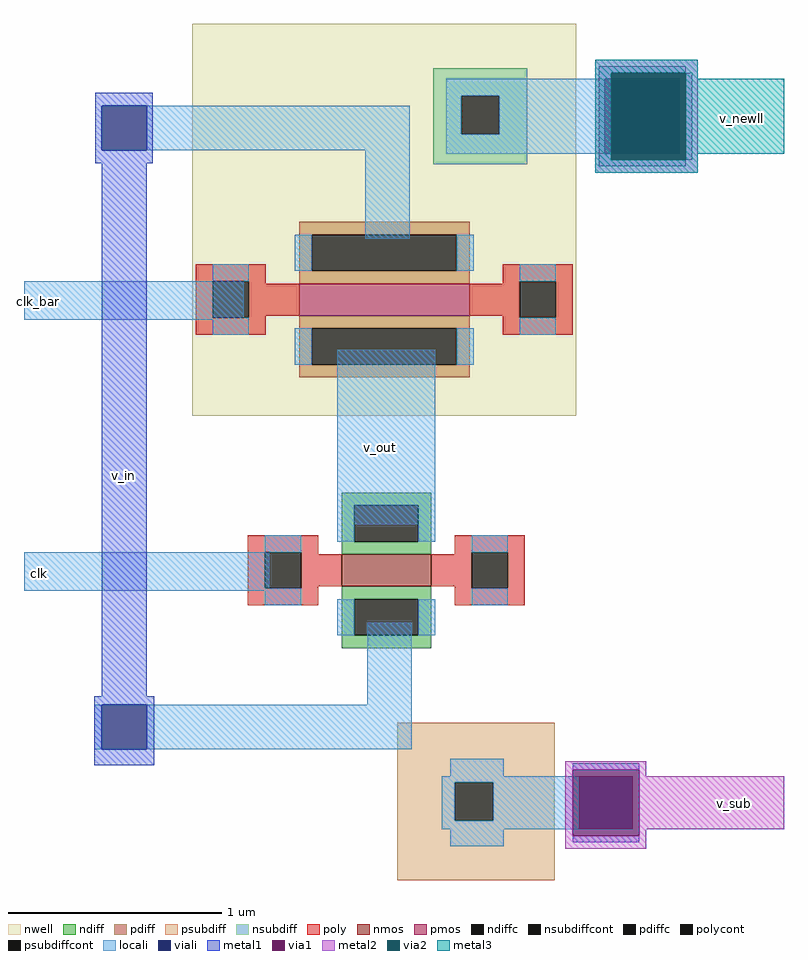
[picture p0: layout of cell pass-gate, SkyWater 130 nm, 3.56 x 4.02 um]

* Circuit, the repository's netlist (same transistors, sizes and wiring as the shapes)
* NGSPICE file created from pass-gate.ext - technology: sky130A

.subckt sky130_fd_pr__nfet_01v8_5mkfxl VSUBS a_n73_n42# a_15_n42# a_n33_n130#
X0 a_15_n42# a_n33_n130# a_n73_n42# VSUBS sky130_fd_pr__nfet_01v8 w=420000u l=150000u
.ends

.subckt sky130_fd_pr__pfet_01v8_pa2hmj VSUBS a_n33_n177# a_15_n80# w_n109_n180# a_n73_n80#
X0 a_15_n80# a_n33_n177# a_n73_n80# w_n109_n180# sky130_fd_pr__pfet_01v8 w=800000u l=150000u
.ends

.subckt pass-gate clk clk_bar v_in v_out v_newll v_sub
Xsky130_fd_pr__nfet_01v8_5mkfxl_0 v_sub v_out v_in clk sky130_fd_pr__nfet_01v8_5mkfxl
Xsky130_fd_pr__pfet_01v8_pa2hmj_0 v_sub clk_bar v_out v_newll v_in sky130_fd_pr__pfet_01v8_pa2hmj
.ends

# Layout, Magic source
magic
tech sky130A
magscale 1 2
<< nwell >>
rect -52 396 308 586
<< psubdiff >>
rect 140 -126 288 -70
rect 140 -162 194 -126
rect 230 -162 288 -126
rect 140 -218 288 -162
<< nsubdiff >>
rect 174 518 262 544
rect 174 482 200 518
rect 236 482 262 518
rect 174 454 262 482
<< psubdiffcont >>
rect 194 -162 230 -126
<< nsubdiffcont >>
rect 200 482 236 518
<< locali >>
rect 186 518 335 534
rect -95 467 152 509
rect 110 384 152 467
rect 186 482 200 518
rect 236 482 335 518
rect 186 464 335 482
rect -210 308 -4 344
rect 84 116 176 280
rect -210 54 20 90
rect 112 -53 154 24
rect -144 -95 -137 -53
rect -95 -95 154 -53
rect 190 -120 240 -104
rect 182 -126 311 -120
rect 182 -162 194 -126
rect 230 -162 311 -126
rect 182 -170 311 -162
rect 190 -186 240 -170
<< viali >>
rect -137 467 -95 509
rect 335 464 405 534
rect -137 -95 -95 -53
rect 311 -170 361 -120
<< metal1 >>
rect 329 540 411 546
rect 329 534 341 540
rect -143 509 -89 521
rect -143 467 -137 509
rect -95 467 -89 509
rect -143 455 -89 467
rect 329 464 335 534
rect 329 458 341 464
rect 411 458 417 540
rect -137 -45 -95 455
rect 329 452 411 458
rect -144 -53 -88 -45
rect -144 -95 -137 -53
rect -95 -95 -88 -53
rect -144 -110 -88 -95
rect 305 -114 367 -108
rect 305 -182 367 -176
<< via1 >>
rect 341 534 411 540
rect 341 464 405 534
rect 405 464 411 534
rect 341 458 411 464
rect 305 -120 367 -114
rect 305 -170 311 -120
rect 311 -170 361 -120
rect 361 -170 367 -120
rect 305 -176 367 -170
<< metal2 >>
rect 326 540 422 552
rect 326 458 341 540
rect 411 458 422 540
rect 326 446 422 458
rect 298 -114 374 -106
rect 298 -176 305 -114
rect 367 -120 374 -114
rect 367 -170 503 -120
rect 367 -176 374 -170
rect 298 -188 374 -176
<< via2 >>
rect 341 458 411 540
<< metal3 >>
rect 326 540 422 552
rect 326 458 341 540
rect 411 534 422 540
rect 411 464 503 534
rect 411 458 422 464
rect 326 446 422 458
use sky130_fd_pr__nfet_01v8_5mkfxl  sky130_fd_pr__nfet_01v8_5mkfxl_0
transform 0 1 130 -1 0 73
box -73 -130 73 130
use sky130_fd_pr__pfet_01v8_pa2hmj  sky130_fd_pr__pfet_01v8_pa2hmj_0
transform 0 1 128 -1 0 327
box -109 -180 109 180
<< labels >>
flabel locali -201 61 -189 79 0 FreeSans 640 0 0 0 clk
port 0 nsew
flabel locali -202 316 -190 334 0 FreeSans 640 0 0 0 clk_bar
port 1 nsew
flabel metal1 -123 153 -111 171 0 FreeSans 640 0 0 0 v_in
port 2 nsew
flabel locali 118 179 130 197 0 FreeSans 640 0 0 0 v_out
port 3 nsew
flabel metal3 457 488 469 506 0 FreeSans 640 0 0 0 v_newll
port 4 nsew
flabel metal2 451 -155 463 -137 0 FreeSans 640 0 0 0 v_sub
port 5 nsew
<< end >>

# cell sky130_fd_pr__nfet_01v8_5mkfxl: kit device sky130_fd_pr__nfet_01v8, w 0.420 l 0.150 m 1 nf 1 diffcov 100 polycov 100 guard 0 glc 0 grc 0 gtc 0 gbc 0 tbcov 100 rlcov 100 topc 1 botc 1 poverlap 0 doverlap 1 lmin 0.15 wmin 0.42 compatible {sky130_fd_pr__nfet_01v8 sky130_fd_pr__nfet_01v8_lvt sky130_fd_bs_flash__special_sonosfet_star sky130_fd_pr__nfet_g5v0d10v5 sky130_fd_pr__nfet_05v0_nvt} full_metal 0

# cell sky130_fd_pr__pfet_01v8_pa2hmj: kit device sky130_fd_pr__pfet_01v8, w 0.8 l 0.15 m 1 nf 1 diffcov 100 polycov 100 guard 0 glc 0 grc 0 gtc 0 gbc 0 tbcov 100 rlcov 100 topc 1 botc 1 poverlap 0 doverlap 1 lmin 0.15 wmin 0.42 compatible {sky130_fd_pr__pfet_01v8 sky130_fd_pr__pfet_01v8_lvt sky130_fd_pr__pfet_01v8_hvt sky130_fd_pr__pfet_g5v0d10v5} full_metal 0
